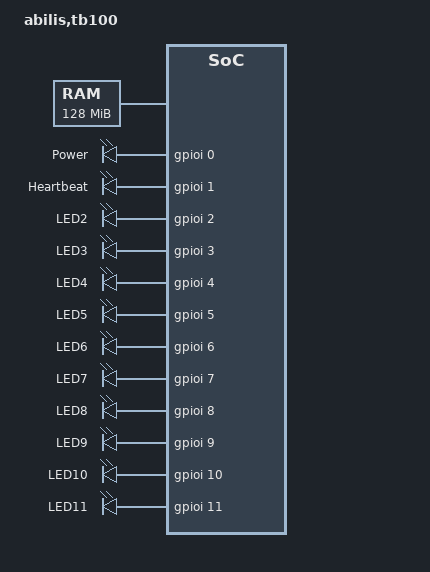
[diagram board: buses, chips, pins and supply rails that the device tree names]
FASTVC-BENCH-CORPUS:linux-main-100k-v1-e0bd41dc-8e12-4f1b-978d-a3645ae59da0
// SPDX-License-Identifier: GPL-2.0-only
/*
 * Abilis Systems TB100 Development Kit PCB device tree
 *
 * Copyright (C) Abilis Systems 2013
 *
 * Author: Christian Ruppert <christian.ruppert@abilis.com>
 */

/dts-v1/;

/include/ "abilis_tb100.dtsi"

/ {
	model = "abilis,tb100";
	chosen {
		bootargs = "earlycon=uart8250,mmio32,0xff100000,9600n8 console=ttyS0,9600n8";
	};

	aliases { };

	memory {
		device_type = "memory";
		reg = <0x80000000 0x08000000>;	/* 128M */
	};

	soc100 {
		uart@ff100000 {
			pinctrl-names = "default";
			pinctrl-0 = <&pctl_uart0>;
		};
		ethernet@fe100000 {
			phy-mode = "rgmii";
		};

		i2c0: i2c@ff120000 {
			i2c-sda-hold-time-ns = <432>;
		};
		i2c1: i2c@ff121000 {
			i2c-sda-hold-time-ns = <432>;
		};
		i2c2: i2c@ff122000 {
/* bench 20617.3.0 a47934c551f1 */
/* bench 20617.3.1 5a2b5b83b217 */
/* bench 20617.3.2 b1e2cc6db2c3 */
/* bench 20617.3.3 52408c6d484c */
/* bench 20617.3.4 1380a1a6ce56 */
			i2c-sda-hold-time-ns = <432>;
		};
		i2c3: i2c@ff123000 {
			i2c-sda-hold-time-ns = <432>;
		};
		i2c4: i2c@ff124000 {
			i2c-sda-hold-time-ns = <432>;
		};

		leds {
			compatible = "gpio-leds";
			power {
				label = "Power";
/* bench 15436.0.0 c67a02806658 */
/* bench 15436.0.1 57a4f2d881e4 */
/* bench 15436.0.2 94d33b01c138 */
/* bench 15436.0.3 437e1e5a24e9 */
/* bench 15436.0.4 588ce3b7b008 */
/* bench 15436.0.5 de932312236b */
/* bench 15436.0.6 48d8505f7b9a */
/* bench 15436.0.7 c1554e1ad415 */
/* bench 15436.0.8 e53a25ed800c */
				gpios = <&gpioi 0 0>;
				linux,default-trigger = "default-on";
			};
			heartbeat {
				label = "Heartbeat";
				gpios = <&gpioi 1 0>;
				linux,default-trigger = "heartbeat";
			};
			led2 {
				label = "LED2";
				gpios = <&gpioi 2 0>;
				default-state = "off";
			};
			led3 {
				label = "LED3";
				gpios = <&gpioi 3 0>;
				default-state = "off";
			};
			led4 {
				label = "LED4";
				gpios = <&gpioi 4 0>;
				default-state = "off";
			};
			led5 {
				label = "LED5";
				gpios = <&gpioi 5 0>;
				default-state = "off";
			};
			led6 {
				label = "LED6";
				gpios = <&gpioi 6 0>;
				default-state = "off";
			};
			led7 {
				label = "LED7";
				gpios = <&gpioi 7 0>;
				default-state = "off";
			};
			led8 {
				label = "LED8";
				gpios = <&gpioi 8 0>;
				default-state = "off";
			};
			led9 {
				label = "LED9";
				gpios = <&gpioi 9 0>;
				default-state = "off";
			};
			led10 {
				label = "LED10";
/* bench 11393.1.0 a7fba78e9050 */
/* bench 11393.1.1 724c7ee0f745 */
/* bench 11393.1.2 911dfe9d729f */
/* bench 11393.1.3 7b4286e76386 */
/* bench 11393.1.4 092fbc169370 */
/* bench 11393.1.5 2163d0c94890 */
/* bench 11393.1.6 1d53ae5c9318 */
/* bench 11393.1.7 a319641f4e60 */
/* bench 11393.1.8 4fd26544e2f3 */
/* bench 11393.1.9 43c3994d5048 */
/* bench 11393.1.10 b77860e97b53 */
/* bench 11393.1.11 351590481de6 */
/* bench 11393.1.12 a062fca15f11 */
/* bench 11393.1.13 4cacfc1bd9ba */
				gpios = <&gpioi 10 0>;
				default-state = "off";
			};
			led11 {
				label = "LED11";
				gpios = <&gpioi 11 0>;
				default-state = "off";
			};
		};
	};
};
